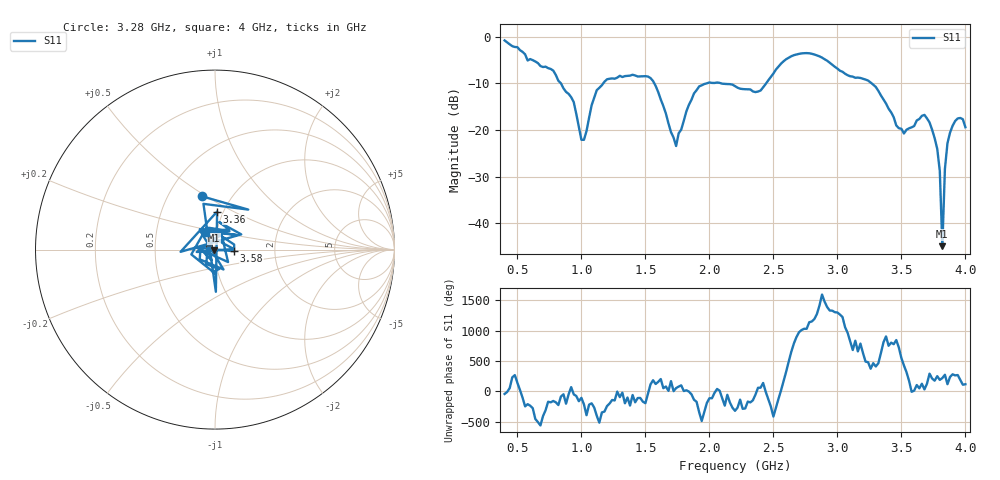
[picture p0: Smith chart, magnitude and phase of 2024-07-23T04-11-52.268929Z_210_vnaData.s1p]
!Created with skrf (http://scikit-rf.org).
# Hz S RI R 50.0
!freq ReS11 ImS11
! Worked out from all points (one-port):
!   181 points, 400 MHz to 4 GHz, reference 50 ohm
!   lowest |S11| = -45.0 dB at 3.82 GHz (marker M1), VSWR 1.01, Z = 49.6 - j0.363 ohm
!   |S11| at or under -10 dB: 1.57 GHz to 1.977 GHz (407.5 MHz wide, 23 % of centre); 2.093 GHz to 2.443 GHz (349.6 MHz wide, 15.4 % of centre); 3.268 GHz to end of sweep (the widest 3 of 4)
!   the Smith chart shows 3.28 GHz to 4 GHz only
!   S11 on the Smith chart (normalised r, x): 3.28 GHz: 0.73, +0.48; 3.36 GHz: 0.94, +0.41; 3.58 GHz: 1.24, -0.02; 4 GHz: 0.89, +0.17
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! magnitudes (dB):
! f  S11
! 400 MHz  -0.8
! 780 MHz  -7.2
! 860 MHz  -11.1
! 940 MHz  -14.0
! 1.02 GHz  -22.1
! 1.12 GHz  -11.5
! 1.3 GHz  -8.4
! 1.54 GHz  -8.9
! 1.74 GHz  -23.4
! 1.76 GHz  -20.7
! 1.92 GHz  -10.6
! 2.2 GHz  -10.6
! 2.4 GHz  -11.5
! 2.66 GHz  -3.9
! 3.1 GHz  -8.5
! 3.28 GHz  -10.3
! 3.36 GHz  -13.5
! 3.46 GHz  -19.0
! 3.56 GHz  -19.6
! 3.58 GHz  -19.4
! 3.68 GHz  -16.8
! 3.76 GHz  -21.8
! 3.8 GHz  -28.8
! 3.82 GHz  -45.0
! 3.84 GHz  -28.4
! 3.86 GHz  -22.8
! 3.94 GHz  -17.5
! 4 GHz  -19.4
